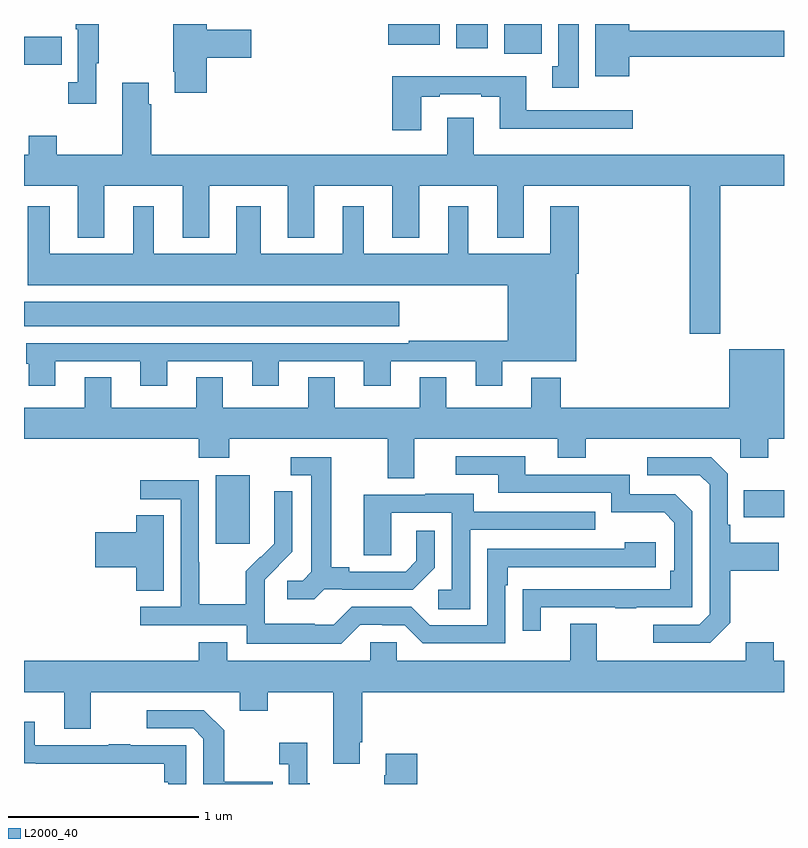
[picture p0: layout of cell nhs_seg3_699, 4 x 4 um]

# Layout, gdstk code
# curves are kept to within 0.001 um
import gdstk
lib = gdstk.Library(unit=1e-6, precision=1e-09)
def R(c, l, rs):  # rectangles x0, y0, x1, y1
    for r in rs: c.add(gdstk.rectangle(r[:2], r[2:], *l))
def P(c, l, *ps):  # polygons
    for p in ps: c.add(gdstk.Polygon(p, *l))
L2000_40 = (2000, 40)

nhs_seg3_699 = lib.new_cell('nhs_seg3_699')
R(nhs_seg3_699, L2000_40, [(146.009,733.665,146.188,734.026), (148.789,733.805,149,733.945), (145,734.81,146.974,734.938), (145,736.186,145.199,736.333), (147.527,736.244,147.724,736.4), (147.275,736.272,147.442,736.4), (146.918,736.292,147.187,736.4)])
P(nhs_seg3_699, L2000_40, [(147.919,736.4),(147.812,736.4),(147.812,736.178),(147.779,736.178),(147.779,736.065),(147.919,736.065)],
  [(148.186,736.228),(149,736.228),(149,736.364),(148.186,736.364),(148.186,736.4),(148.007,736.4),(148.007,736.124),(148.186,736.124)],
  [(145.961,736.223),(146.197,736.223),(146.197,736.37),(145.961,736.37),(145.961,736.4),(145.786,736.4),(145.786,736.15),(145.793,736.15),(145.793,736.038),(145.961,736.038)],
  [(145.381,736.193),(145.393,736.193),(145.393,736.4),(145.272,736.4),(145.272,736.373),(145.284,736.373),(145.284,736.094),(145.233,736.094),(145.233,735.981),(145.381,735.981)],
  [(147.091,736.017),(147.187,736.017),(147.187,736.029),(147.407,736.029),(147.407,736.017),(147.503,736.017),(147.503,735.848),(148.204,735.848),(148.204,735.945),(147.643,735.945),(147.643,736.126),(146.939,736.126),(146.939,735.84),(147.091,735.84)],
  [(148.665,735.548),(149,735.548),(149,735.712),(147.367,735.712),(147.367,735.907),(147.227,735.907),(147.227,735.712),(145.67,735.712),(145.67,735.977),(145.657,735.977),(145.657,736.09),(145.517,736.09),(145.517,735.712),(145.173,735.712),(145.173,735.811),(145.025,735.811),(145.025,735.712),(145,735.712),(145,735.548),(145.283,735.548),(145.283,735.275),(145.423,735.275),(145.423,735.548),(145.835,735.548),(145.835,735.275),(145.975,735.275),(145.975,735.548),(146.387,735.548),(146.387,735.275),(146.527,735.275),(146.527,735.548),(146.939,735.548),(146.939,735.275),(147.079,735.275),(147.079,735.548),(147.491,735.548),(147.491,735.275),(147.631,735.275),(147.631,735.548),(148.505,735.548),(148.505,734.769),(148.665,734.769)],
  [(145.165,734.625),(145.613,734.625),(145.613,734.496),(145.753,734.496),(145.753,734.625),(146.201,734.625),(146.201,734.496),(146.341,734.496),(146.341,734.625),(146.789,734.625),(146.789,734.496),(146.929,734.496),(146.929,734.625),(147.377,734.625),(147.377,734.496),(147.517,734.496),(147.517,734.624),(147.907,734.624),(147.907,735.086),(147.92,735.086),(147.92,735.442),(147.77,735.442),(147.77,735.19),(147.337,735.19),(147.337,735.442),(147.233,735.442),(147.233,735.19),(146.788,735.19),(146.788,735.442),(146.678,735.442),(146.678,735.19),(146.245,735.19),(146.245,735.442),(146.117,735.442),(146.117,735.19),(145.684,735.19),(145.684,735.442),(145.574,735.442),(145.574,735.19),(145.135,735.19),(145.135,735.442),(145.019,735.442),(145.019,735.026),(147.545,735.026),(147.545,734.734),(147.025,734.734),(147.025,734.721),(145.013,734.721),(145.013,734.613),(145.025,734.613),(145.025,734.496),(145.165,734.496)],
  [(148.712,734.38),(147.824,734.38),(147.824,734.539),(147.671,734.539),(147.671,734.38),(147.223,734.38),(147.223,734.54),(147.083,734.54),(147.083,734.38),(146.635,734.38),(146.635,734.54),(146.495,734.54),(146.495,734.38),(146.047,734.38),(146.047,734.54),(145.907,734.54),(145.907,734.38),(145.459,734.38),(145.459,734.54),(145.319,734.54),(145.319,734.38),(145,734.38),(145,734.216),(145.919,734.216),(145.919,734.117),(146.079,734.117),(146.079,734.216),(146.915,734.216),(146.915,734.008),(147.055,734.008),(147.055,734.216),(147.809,734.216),(147.809,734.117),(147.957,734.117),(147.957,734.216),(148.77,734.216),(148.77,734.117),(148.917,734.117),(148.917,734.216),(149,734.216),(149,734.689),(148.712,734.689)],
  [(147.721,733.329),(148.111,733.329),(148.111,733.324),(148.223,733.324),(148.223,733.329),(148.518,733.329),(148.518,733.836),(148.428,733.926),(148.188,733.926),(148.188,734.028),(147.637,734.028),(147.637,734.124),(147.273,734.124),(147.273,734.028),(147.497,734.028),(147.497,733.932),(148.092,733.932),(148.092,733.829),(148.369,733.829),(148.422,733.776),(148.422,733.522),(148.402,733.522),(148.402,733.425),(147.625,733.424),(147.625,733.206),(147.721,733.206)],
  [(146.58,733.425),(146.674,733.425),(146.674,733.422),(147.046,733.422),(147.162,733.538),(147.162,733.732),(147.065,733.732),(147.065,733.575),(147.008,733.518),(146.713,733.518),(146.713,733.541),(146.617,733.541),(146.617,734.121),(146.403,734.121),(146.403,734.025),(146.513,734.025),(146.513,733.517),(146.466,733.47),(146.385,733.47),(146.385,733.373),(146.528,733.373)],
  [(148.717,733.249),(148.717,733.522),(148.973,733.522),(148.973,733.669),(148.717,733.669),(148.717,733.765),(148.704,733.765),(148.704,734.034),(148.617,734.121),(148.281,734.121),(148.281,734.025),(148.557,734.025),(148.608,733.974),(148.608,733.293),(148.554,733.239),(148.311,733.239),(148.311,733.143),(148.611,733.143)],
  [(146.769,733.239),(146.885,733.239),(146.885,733.236),(147.003,733.236),(147.099,733.14),(147.534,733.14),(147.534,733.445),(147.547,733.445),(147.547,733.542),(148.324,733.542),(148.324,733.672),(148.163,733.672),(148.163,733.638),(147.438,733.638),(147.438,733.236),(147.135,733.236),(147.039,733.332),(146.724,733.332),(146.631,733.239),(146.531,733.239),(146.531,733.243),(146.268,733.243),(146.268,733.377),(146.266,733.377),(146.266,733.474),(146.412,733.622),(146.412,733.94),(146.316,733.94),(146.316,733.786),(146.318,733.786),(146.318,733.664),(146.247,733.593),(146.244,733.596),(146.167,733.519),(146.167,733.345),(145.923,733.345),(145.923,733.568),(145.92,733.568),(145.92,733.998),(145.611,733.998),(145.611,733.899),(145.824,733.899),(145.824,733.332),(145.611,733.332),(145.611,733.236),(146.172,733.236),(146.172,733.139),(146.669,733.139)],
  [(147.348,733.737),(148.007,733.737),(148.007,733.833),(147.367,733.833),(147.367,733.927),(147.113,733.927),(147.113,733.923),(146.789,733.923),(146.789,733.603),(146.934,733.603),(146.934,733.827),(147.252,733.827),(147.252,733.422),(147.18,733.422),(147.18,733.321),(147.348,733.321)],
  [(145.735,733.814),(145.592,733.814),(145.592,733.724),(145.374,733.724),(145.374,733.541),(145.592,733.541),(145.592,733.417),(145.735,733.417)],
  [(146.767,732.619),(146.78,732.619),(146.78,732.884),(149,732.884),(149,733.048),(148.947,733.048),(148.947,733.147),(148.799,733.147),(148.799,733.048),(148.015,733.048),(148.015,733.243),(147.875,733.243),(147.875,733.048),(146.961,733.048),(146.961,733.146),(146.823,733.146),(146.823,733.048),(146.071,733.048),(146.071,733.147),(145.919,733.147),(145.919,733.048),(145,733.048),(145,732.884),(145.211,732.884),(145.211,732.69),(145.351,732.69),(145.351,732.884),(146.135,732.884),(146.135,732.785),(146.283,732.785),(146.283,732.884),(146.627,732.884),(146.627,732.507),(146.767,732.507)],
  [(146.309,732.411),(146.053,732.411),(146.053,732.683),(145.947,732.789),(145.647,732.789),(145.647,732.693),(145.89,732.693),(145.944,732.639),(145.944,732.4),(146.309,732.4)],
  [(145.854,732.603),(145.559,732.603),(145.559,732.608),(145.447,732.608),(145.447,732.603),(145.057,732.603),(145.057,732.727),(145,732.727),(145,732.508),(145.063,732.508),(145.063,732.507),(145.738,732.507),(145.738,732.41),(145.758,732.41),(145.758,732.4),(145.854,732.4)],
  [(146.503,732.403),(146.491,732.403),(146.491,732.616),(146.343,732.616),(146.343,732.503),(146.394,732.503),(146.394,732.4),(146.503,732.4)],
  [(147.071,732.559),(146.903,732.559),(146.903,732.446),(146.896,732.446),(146.896,732.4),(147.071,732.4)])

lib.write_gds('nhs_seg3_699.gds')
